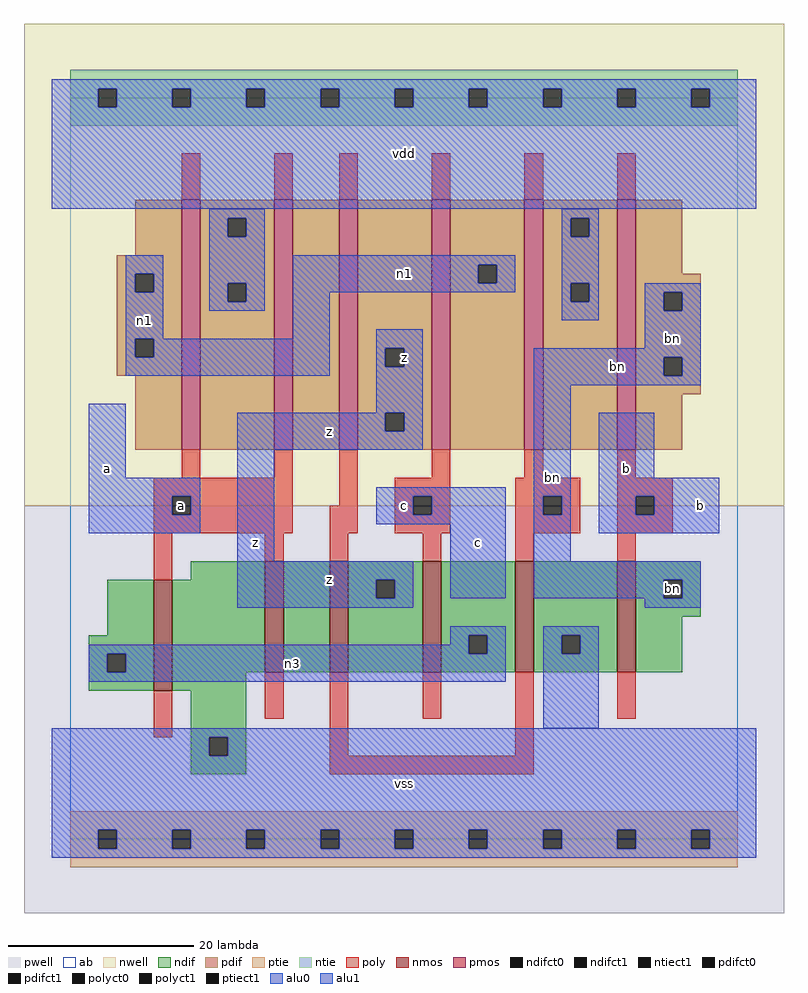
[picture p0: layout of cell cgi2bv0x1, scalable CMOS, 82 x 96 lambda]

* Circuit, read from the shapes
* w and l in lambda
.subckt cgi2bv0x1 a b bn c n1 n3 vdd vss z
M1 vss a n3 vss nfet w=12 l=2
M2 n2 a vss vss nfet w=12 l=2
M3 z bn n2 vss nfet w=12 l=2
M4 n3 c z vss nfet w=12 l=2
M5 vss bn n3 vss nfet w=12 l=2
M6 bn b vss vss nfet w=12 l=2
M7 vdd a n1 vdd pfet w=27 l=2
M8 n4 a vdd vdd pfet w=27 l=2
M9 z bn n4 vdd pfet w=27 l=2
M10 n1 c z vdd pfet w=27 l=2
M11 vdd bn n1 vdd pfet w=27 l=2
M12 bn b vdd vdd pfet w=27 l=2
.ends

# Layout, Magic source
magic
tech scmos
<< ab >>
rect 0 0 72 80
<< nwell >>
rect -5 36 77 88
<< pwell >>
rect -5 -8 77 36
<< poly >>
rect 12 69 14 74
rect 22 69 24 74
rect 29 69 31 74
rect 39 69 41 74
rect 49 69 51 74
rect 59 69 61 74
rect 12 39 14 42
rect 22 39 24 42
rect 9 37 24 39
rect 9 35 11 37
rect 13 35 24 37
rect 29 36 31 42
rect 39 39 41 42
rect 49 39 51 42
rect 59 39 61 42
rect 9 33 24 35
rect 28 33 31 36
rect 35 37 41 39
rect 35 35 37 37
rect 39 35 41 37
rect 35 33 41 35
rect 48 37 55 39
rect 48 35 51 37
rect 53 35 55 37
rect 48 33 55 35
rect 59 37 65 39
rect 59 35 61 37
rect 63 35 65 37
rect 59 33 65 35
rect 9 28 11 33
rect 21 30 23 33
rect 28 30 30 33
rect 38 30 40 33
rect 48 30 50 33
rect 59 30 61 33
rect 9 11 11 16
rect 21 13 23 18
rect 28 9 30 18
rect 38 13 40 18
rect 48 9 50 18
rect 59 13 61 18
rect 28 7 50 9
<< ndif >>
rect 13 28 21 30
rect 4 22 9 28
rect 2 20 9 22
rect 2 18 4 20
rect 6 18 9 20
rect 2 16 9 18
rect 11 18 21 28
rect 23 18 28 30
rect 30 28 38 30
rect 30 26 33 28
rect 35 26 38 28
rect 30 18 38 26
rect 40 22 48 30
rect 40 20 43 22
rect 45 20 48 22
rect 40 18 48 20
rect 50 22 59 30
rect 50 20 53 22
rect 55 20 59 22
rect 50 18 59 20
rect 61 28 68 30
rect 61 26 64 28
rect 66 26 68 28
rect 61 24 68 26
rect 61 18 66 24
rect 11 16 19 18
rect 13 11 19 16
rect 13 9 15 11
rect 17 9 19 11
rect 13 7 19 9
<< pdif >>
rect 7 63 12 69
rect 5 61 12 63
rect 5 59 7 61
rect 9 59 12 61
rect 5 54 12 59
rect 5 52 7 54
rect 9 52 12 54
rect 5 50 12 52
rect 7 42 12 50
rect 14 67 22 69
rect 14 65 17 67
rect 19 65 22 67
rect 14 60 22 65
rect 14 58 17 60
rect 19 58 22 60
rect 14 42 22 58
rect 24 42 29 69
rect 31 53 39 69
rect 31 51 34 53
rect 36 51 39 53
rect 31 46 39 51
rect 31 44 34 46
rect 36 44 39 46
rect 31 42 39 44
rect 41 62 49 69
rect 41 60 44 62
rect 46 60 49 62
rect 41 42 49 60
rect 51 67 59 69
rect 51 65 54 67
rect 56 65 59 67
rect 51 60 59 65
rect 51 58 54 60
rect 56 58 59 60
rect 51 42 59 58
rect 61 61 66 69
rect 61 59 68 61
rect 61 57 64 59
rect 66 57 68 59
rect 61 52 68 57
rect 61 50 64 52
rect 66 50 68 52
rect 61 48 68 50
rect 61 42 66 48
<< alu1 >>
rect -2 81 74 82
rect -2 79 3 81
rect 5 79 11 81
rect 13 79 19 81
rect 21 79 27 81
rect 29 79 35 81
rect 37 79 43 81
rect 45 79 51 81
rect 53 79 59 81
rect 61 79 67 81
rect 69 79 74 81
rect -2 68 74 79
rect 33 53 38 55
rect 33 51 34 53
rect 36 51 38 53
rect 2 39 6 47
rect 33 46 38 51
rect 18 44 34 46
rect 36 44 38 46
rect 18 42 38 44
rect 2 37 14 39
rect 2 35 11 37
rect 13 35 14 37
rect 2 33 14 35
rect 18 30 22 42
rect 33 37 47 38
rect 33 35 37 37
rect 39 35 47 37
rect 33 34 47 35
rect 18 28 37 30
rect 18 26 33 28
rect 35 26 37 28
rect 41 26 47 34
rect 57 39 63 46
rect 57 37 70 39
rect 57 35 61 37
rect 63 35 70 37
rect 57 33 70 35
rect 18 25 37 26
rect -2 11 74 12
rect -2 9 15 11
rect 17 9 74 11
rect -2 1 74 9
rect -2 -1 3 1
rect 5 -1 11 1
rect 13 -1 19 1
rect 21 -1 27 1
rect 29 -1 35 1
rect 37 -1 43 1
rect 45 -1 51 1
rect 53 -1 59 1
rect 61 -1 67 1
rect 69 -1 74 1
rect -2 -2 74 -1
<< ptie >>
rect 0 1 72 3
rect 0 -1 3 1
rect 5 -1 11 1
rect 13 -1 19 1
rect 21 -1 27 1
rect 29 -1 35 1
rect 37 -1 43 1
rect 45 -1 51 1
rect 53 -1 59 1
rect 61 -1 67 1
rect 69 -1 72 1
rect 0 -3 72 -1
<< ntie >>
rect 0 81 72 83
rect 0 79 3 81
rect 5 79 11 81
rect 13 79 19 81
rect 21 79 27 81
rect 29 79 35 81
rect 37 79 43 81
rect 45 79 51 81
rect 53 79 59 81
rect 61 79 67 81
rect 69 79 72 81
rect 0 77 72 79
<< nmos >>
rect 9 16 11 28
rect 21 18 23 30
rect 28 18 30 30
rect 38 18 40 30
rect 48 18 50 30
rect 59 18 61 30
<< pmos >>
rect 12 42 14 69
rect 22 42 24 69
rect 29 42 31 69
rect 39 42 41 69
rect 49 42 51 69
rect 59 42 61 69
<< polyct0 >>
rect 51 35 53 37
<< polyct1 >>
rect 11 35 13 37
rect 37 35 39 37
rect 61 35 63 37
<< ndifct0 >>
rect 4 18 6 20
rect 43 20 45 22
rect 53 20 55 22
rect 64 26 66 28
<< ndifct1 >>
rect 33 26 35 28
rect 15 9 17 11
<< ntiect1 >>
rect 3 79 5 81
rect 11 79 13 81
rect 19 79 21 81
rect 27 79 29 81
rect 35 79 37 81
rect 43 79 45 81
rect 51 79 53 81
rect 59 79 61 81
rect 67 79 69 81
<< ptiect1 >>
rect 3 -1 5 1
rect 11 -1 13 1
rect 19 -1 21 1
rect 27 -1 29 1
rect 35 -1 37 1
rect 43 -1 45 1
rect 51 -1 53 1
rect 59 -1 61 1
rect 67 -1 69 1
<< pdifct0 >>
rect 7 59 9 61
rect 7 52 9 54
rect 17 65 19 67
rect 17 58 19 60
rect 44 60 46 62
rect 54 65 56 67
rect 54 58 56 60
rect 64 57 66 59
rect 64 50 66 52
<< pdifct1 >>
rect 34 51 36 53
rect 34 44 36 46
<< alu0 >>
rect 15 67 21 68
rect 15 65 17 67
rect 19 65 21 67
rect 6 61 10 63
rect 6 59 7 61
rect 9 59 10 61
rect 6 54 10 59
rect 15 60 21 65
rect 53 67 57 68
rect 53 65 54 67
rect 56 65 57 67
rect 15 58 17 60
rect 19 58 21 60
rect 15 57 21 58
rect 24 62 48 63
rect 24 60 44 62
rect 46 60 48 62
rect 24 59 48 60
rect 53 60 57 65
rect 24 54 28 59
rect 53 58 54 60
rect 56 58 57 60
rect 53 56 57 58
rect 62 59 68 60
rect 62 57 64 59
rect 66 57 68 59
rect 6 52 7 54
rect 9 52 28 54
rect 6 50 28 52
rect 62 53 68 57
rect 50 52 68 53
rect 50 50 64 52
rect 66 50 68 52
rect 50 49 68 50
rect 50 37 54 49
rect 50 35 51 37
rect 53 35 54 37
rect 50 30 54 35
rect 50 28 68 30
rect 50 26 64 28
rect 66 26 68 28
rect 62 25 68 26
rect 41 22 47 23
rect 41 21 43 22
rect 2 20 43 21
rect 45 20 47 22
rect 2 18 4 20
rect 6 18 47 20
rect 2 17 47 18
rect 51 22 57 23
rect 51 20 53 22
rect 55 20 57 22
rect 51 12 57 20
<< labels >>
rlabel alu0 8 56 8 56 6 n1
rlabel alu0 24 19 24 19 6 n3
rlabel alu0 36 61 36 61 6 n1
rlabel ndifct0 65 27 65 27 6 bn
rlabel alu0 52 39 52 39 6 bn
rlabel alu0 59 51 59 51 6 bn
rlabel alu0 65 54 65 54 6 bn
rlabel polyct1 12 36 12 36 6 a
rlabel alu1 4 40 4 40 6 a
rlabel alu1 20 32 20 32 6 z
rlabel alu1 28 28 28 28 6 z
rlabel alu1 28 44 28 44 6 z
rlabel alu1 36 6 36 6 6 vss
rlabel alu1 36 36 36 36 6 c
rlabel alu1 44 32 44 32 6 c
rlabel alu1 36 52 36 52 6 z
rlabel alu1 36 74 36 74 6 vdd
rlabel alu1 68 36 68 36 6 b
rlabel alu1 60 40 60 40 6 b
<< end >>
